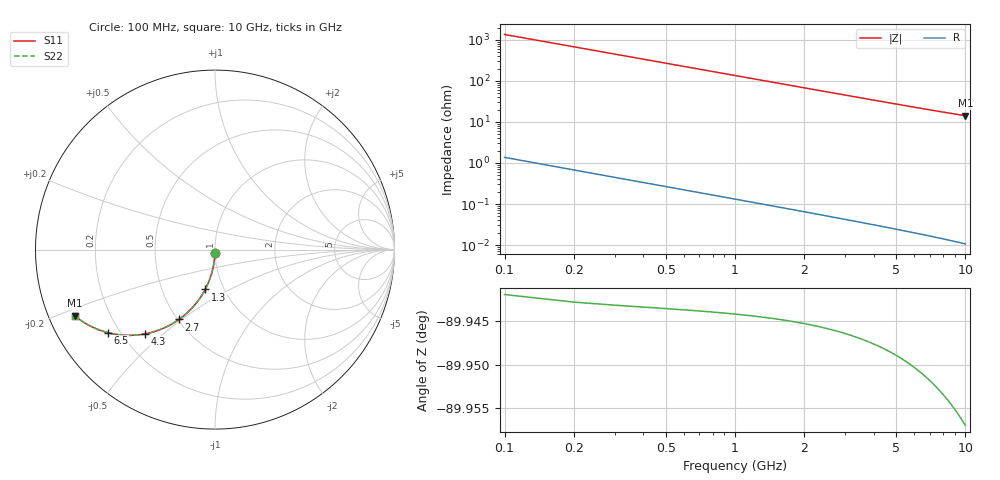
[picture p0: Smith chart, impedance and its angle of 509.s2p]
# Hz S RI R 50.00
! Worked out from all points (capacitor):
!   100 points, 100 MHz to 10 GHz, reference 50 ohm
!   read as one part in shunt: C = 1.18 pF near 100 MHz
!   lowest |Z| = 14.2 ohm at 10 GHz (marker M1)
!   S11 on the Smith chart (normalised r, x): 100 MHz: 1.00, -0.04; 1.3 GHz: 0.82, -0.38; 2.7 GHz: 0.51, -0.49; 4.3 GHz: 0.29, -0.44; 6.5 GHz: 0.16, -0.33; 10 GHz: 0.08, -0.22
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1e8  -0.000237 -0.0181  0.9995 -0.0189  0.9995 -0.0189  -0.000237 -0.0181
2e8  -0.00128 -0.0361  0.9985 -0.0377  0.9985 -0.0377  -0.00128 -0.0361
3e8  -0.00299 -0.054  0.9968 -0.0565  0.9968 -0.0565  -0.00299 -0.054
4e8  -0.00538 -0.0719  0.9944 -0.0751  0.9944 -0.0751  -0.00538 -0.0719
5e8  -0.00843 -0.0896  0.9913 -0.0936  0.9913 -0.0936  -0.00843 -0.0896
6e8  -0.0121 -0.1071  0.9876 -0.112  0.9876 -0.112  -0.0121 -0.1071
7e8  -0.0165 -0.1244  0.9833 -0.1301  0.9833 -0.1301  -0.0165 -0.1244
8e8  -0.0214 -0.1414  0.9783 -0.1479  0.9783 -0.1479  -0.0214 -0.1414
1e9  -0.0331 -0.1746  0.9666 -0.1828  0.9666 -0.1828  -0.0331 -0.1746
1.3e9  -0.0547 -0.2219  0.945 -0.2325  0.945 -0.2325  -0.0547 -0.2219
1.5e9  -0.0715 -0.2514  0.9281 -0.2636  0.9281 -0.2636  -0.0715 -0.2514
1.8e9  -0.0999 -0.2923  0.8997 -0.307  0.8997 -0.307  -0.0999 -0.2923
2.2e9  -0.1424 -0.3402  0.8572 -0.3581  0.8572 -0.3581  -0.1424 -0.3402
2.7e9  -0.2003 -0.3889  0.7992 -0.4109  0.7992 -0.4109  -0.2003 -0.3889
3.4e9  -0.2848 -0.437  0.7146 -0.4649  0.7146 -0.4649  -0.2848 -0.437
4.3e9  -0.39 -0.4697  0.6091 -0.505  0.6091 -0.505  -0.39 -0.4697
5.1e9  -0.4745 -0.4778  0.5243 -0.5199  0.5243 -0.5199  -0.4745 -0.4778
6.5e9  -0.5967 -0.4628  0.4016 -0.5169  0.4016 -0.5169  -0.5967 -0.4628
6.7e9  -0.6115 -0.4588  0.3867 -0.5146  0.3867 -0.5146  -0.6115 -0.4588
7.5e9  -0.6648 -0.4398  0.333 -0.5025  0.333 -0.5025  -0.6648 -0.4398
8.4e9  -0.7146 -0.415  0.2826 -0.4857  0.2826 -0.4857  -0.7146 -0.415
1e10  -0.7823 -0.3682  0.2138 -0.4534  0.2138 -0.4534  -0.7823 -0.3682
